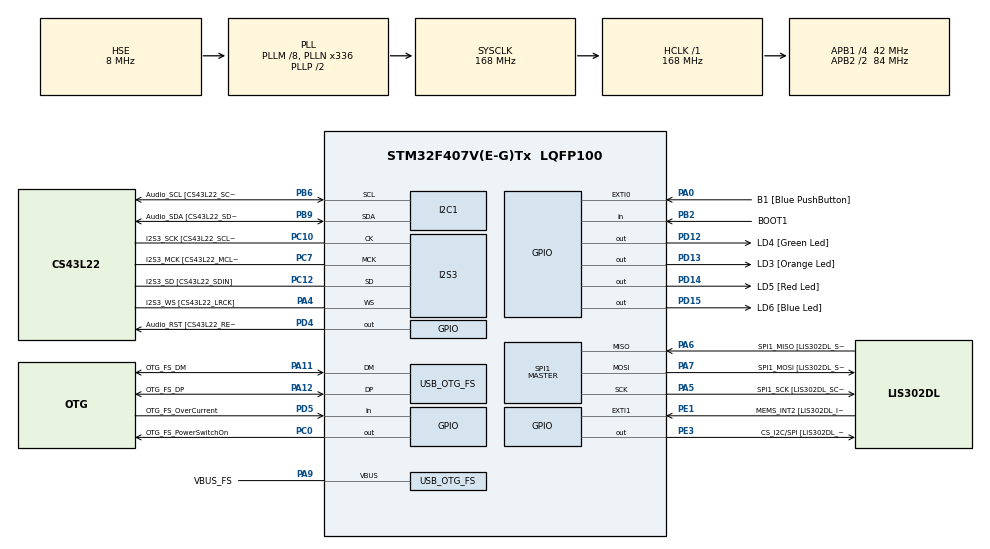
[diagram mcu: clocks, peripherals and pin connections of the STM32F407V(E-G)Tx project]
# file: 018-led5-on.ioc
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I2S3.AudioFreq-Half_Duplex_Master=I2S_AUDIOFREQ_96K
I2S3.ErrorAudioFreq=-2.34 %
I2S3.ErrorAudioFreq-Half_Duplex_Master=0.8 %
I2S3.FullDuplexMode=I2S_FULLDUPLEXMODE_DISABLE
I2S3.Instance=SPI$Index
I2S3.RealAudioFreq=93.75 KHz
I2S3.RealAudioFreq-Half_Duplex_Master=96.774 KHz
I2S3.VirtualMode=I2S_MODE_MASTER
Mcu.Family=STM32F4
Mcu.Name=STM32F407V(E-G)Tx
Mcu.Package=LQFP100
NVIC.OTG_FS_IRQn=true\:0\:0\:false\:false\:true\:true\:true\:true
NVIC.PriorityGroup=NVIC_PRIORITYGROUP_0
PA0-WKUP.GPIO_Label=B1 [Blue PushButton]
PA0-WKUP.GPIO_ModeDefaultEXTI=GPIO_MODE_EVT_RISING
PA0-WKUP.GPIO_PuPd=GPIO_NOPULL
PA0-WKUP.Signal=GPXTI0
PA10.GPIO_Label=OTG_FS_ID
PA10.GPIO_Mode=GPIO_MODE_AF_PP
PA10.GPIO_PuPd=GPIO_NOPULL
PA10.GPIO_Speed=GPIO_SPEED_FREQ_LOW
PA10.Signal=USB_OTG_FS_ID
PA11.GPIO_Label=OTG_FS_DM
PA11.GPIO_Mode=GPIO_MODE_AF_PP
PA11.GPIO_PuPd=GPIO_NOPULL
PA11.GPIO_Speed=GPIO_SPEED_FREQ_LOW
PA11.Mode=Host_Only
PA11.Signal=USB_OTG_FS_DM
PA12.GPIO_Label=OTG_FS_DP
PA12.GPIO_Mode=GPIO_MODE_AF_PP
PA12.GPIO_PuPd=GPIO_NOPULL
PA12.GPIO_Speed=GPIO_SPEED_FREQ_LOW
PA12.Mode=Host_Only
PA12.Signal=USB_OTG_FS_DP
PA13.GPIO_Label=SWDIO
PA13.Mode=Serial_Wire
PA13.Signal=SYS_JTMS-SWDIO
PA14.GPIO_Label=SWCLK
PA14.Mode=Serial_Wire
PA14.Signal=SYS_JTCK-SWCLK
PA4.GPIO_Label=I2S3_WS [CS43L22_LRCK]
PA4.GPIO_Mode=GPIO_MODE_AF_PP
PA4.GPIO_PuPd=GPIO_NOPULL
PA4.GPIO_Speed=GPIO_SPEED_FREQ_LOW
PA4.Mode=Half_Duplex_Master
PA4.Signal=I2S3_WS
PA5.GPIO_Label=SPI1_SCK [LIS302DL_SCL/SPC]
PA5.GPIO_Mode=GPIO_MODE_AF_PP
PA5.GPIO_PuPd=GPIO_NOPULL
PA5.GPIO_Speed=GPIO_SPEED_FREQ_LOW
PA5.Mode=Full_Duplex_Master
PA5.Signal=SPI1_SCK
PA6.GPIO_Label=SPI1_MISO [LIS302DL_SDO]
PA6.GPIO_Mode=GPIO_MODE_AF_PP
PA6.GPIO_PuPd=GPIO_NOPULL
PA6.GPIO_Speed=GPIO_SPEED_FREQ_LOW
PA6.Mode=Full_Duplex_Master
PA6.Signal=SPI1_MISO
PA7.GPIO_Label=SPI1_MOSI [LIS302DL_SDA/SDI/SDO]
PA7.GPIO_Mode=GPIO_MODE_AF_PP
PA7.GPIO_PuPd=GPIO_NOPULL
PA7.GPIO_Speed=GPIO_SPEED_FREQ_LOW
PA7.Mode=Full_Duplex_Master
PA7.Signal=SPI1_MOSI
PA9.GPIO_Label=VBUS_FS
PA9.GPIO_Mode=GPIO_MODE_INPUT
PA9.GPIO_PuPd=GPIO_NOPULL
PA9.Mode=Activate_VBUS
PA9.Signal=USB_OTG_FS_VBUS
PB10.GPIO_Label=CLK_IN [MP45DT02_CLK]
PB10.GPIO_Mode=GPIO_MODE_AF_PP
PB10.GPIO_PuPd=GPIO_NOPULL
PB10.GPIO_Speed=GPIO_SPEED_FREQ_LOW
PB10.Signal=I2S2_CK
PB2.GPIO_Label=BOOT1
PB2.GPIO_Mode=GPIO_MODE_INPUT
PB2.GPIO_PuPd=GPIO_NOPULL
PB2.Signal=GPIO_Input
PB3.GPIO_Label=SWO
PB3.Signal=SYS_JTDO-SWO
PB6.GPIO_Label=Audio_SCL [CS43L22_SCL]
PB6.GPIO_Mode=GPIO_MODE_AF_OD
PB6.GPIO_Pu=GPIO_PULLUP
PB6.GPIO_PuPd=GPIO_NOPULL
PB6.GPIO_Speed=GPIO_SPEED_FREQ_LOW
PB6.Mode=I2C
PB6.Signal=I2C1_SCL
PB9.GPIO_Label=Audio_SDA [CS43L22_SDA]
PB9.GPIO_Mode=GPIO_MODE_AF_OD
PB9.GPIO_Pu=GPIO_PULLUP
PB9.GPIO_PuPd=GPIO_NOPULL
PB9.GPIO_Speed=GPIO_SPEED_FREQ_LOW
PB9.Mode=I2C
PB9.Signal=I2C1_SDA
PC0.GPIO_Label=OTG_FS_PowerSwitchOn
PC0.GPIO_PuPd=GPIO_NOPULL
PC0.GPIO_Speed=GPIO_SPEED_FREQ_LOW
PC0.PinState=GPIO_PIN_SET
PC0.Signal=GPIO_Output
PC10.GPIO_Label=I2S3_SCK [CS43L22_SCLK]
PC10.GPIO_Mode=GPIO_MODE_AF_PP
PC10.GPIO_PuPd=GPIO_NOPULL
PC10.GPIO_Speed=GPIO_SPEED_FREQ_LOW
PC10.Mode=Half_Duplex_Master
PC10.Signal=I2S3_CK
PC12.GPIO_Label=I2S3_SD [CS43L22_SDIN]
PC12.GPIO_Mode=GPIO_MODE_AF_PP
PC12.GPIO_PuPd=GPIO_NOPULL
PC12.GPIO_Speed=GPIO_SPEED_FREQ_LOW
PC12.Mode=Half_Duplex_Master
PC12.Signal=I2S3_SD
PC14-OSC32_IN.GPIO_Label=PC14-OSC32_IN
PC14-OSC32_IN.Mode=LSE-External-Oscillator
PC14-OSC32_IN.Signal=RCC_OSC32_IN
PC15-OSC32_OUT.GPIO_Label=PC15-OSC32_OUT
PC15-OSC32_OUT.Mode=LSE-External-Oscillator
PC15-OSC32_OUT.Signal=RCC_OSC32_OUT
PC3.GPIO_Label=PDM_OUT [MP45DT02_DOUT]
PC3.GPIO_Mode=GPIO_MODE_AF_PP
PC3.GPIO_PuPd=GPIO_NOPULL
PC3.GPIO_Speed=GPIO_SPEED_FREQ_LOW
PC3.Signal=I2S2_SD
PC7.GPIO_Label=I2S3_MCK [CS43L22_MCLK]
PC7.GPIO_Mode=GPIO_MODE_AF_PP
PC7.GPIO_PuPd=GPIO_NOPULL
PC7.GPIO_Speed=GPIO_SPEED_FREQ_LOW
PC7.Mode=Master_Clock_Activated
PC7.Signal=I2S3_MCK
PD12.GPIO_Label=LD4 [Green Led]
PD12.GPIO_PuPd=GPIO_NOPULL
PD12.GPIO_Speed=GPIO_SPEED_FREQ_LOW
PD12.Signal=GPIO_Output
PD13.GPIO_Label=LD3 [Orange Led]
PD13.GPIO_PuPd=GPIO_NOPULL
PD13.GPIO_Speed=GPIO_SPEED_FREQ_LOW
PD13.Signal=GPIO_Output
PD14.GPIO_Label=LD5 [Red Led]
PD14.GPIO_PuPd=GPIO_NOPULL
PD14.GPIO_Speed=GPIO_SPEED_FREQ_LOW
PD14.Signal=GPIO_Output
PD15.GPIO_Label=LD6 [Blue Led]
PD15.GPIO_PuPd=GPIO_NOPULL
PD15.GPIO_Speed=GPIO_SPEED_FREQ_LOW
PD15.Signal=GPIO_Output
PD4.GPIO_Label=Audio_RST [CS43L22_RESET]
PD4.GPIO_PuPd=GPIO_NOPULL
PD4.GPIO_Speed=GPIO_SPEED_FREQ_LOW
PD4.Signal=GPIO_Output
PD5.GPIO_Label=OTG_FS_OverCurrent
PD5.GPIO_Mode=GPIO_MODE_INPUT
PD5.GPIO_PuPd=GPIO_NOPULL
PD5.Signal=GPIO_Input
PE1.GPIO_Label=MEMS_INT2 [LIS302DL_INT2]
PE1.GPIO_ModeDefaultEXTI=GPIO_MODE_EVT_RISING
PE1.GPIO_PuPd=GPIO_NOPULL
PE1.Signal=GPXTI1
PE3.GPIO_Label=CS_I2C/SPI [LIS302DL_CS_I2C/SPI]
PE3.GPIO_PuPd=GPIO_NOPULL
PE3.GPIO_Speed=GPIO_SPEED_FREQ_LOW
PE3.Signal=GPIO_Output
PH0-OSC_IN.GPIO_Label=PH0-OSC_IN
PH0-OSC_IN.Mode=HSE-External-Oscillator
PH0-OSC_IN.Signal=RCC_OSC_IN
PH1-OSC_OUT.GPIO_Label=PH1-OSC_OUT
PH1-OSC_OUT.Mode=HSE-External-Oscillator
PH1-OSC_OUT.Signal=RCC_OSC_OUT
ProjectManager.HeapSize=0x200
ProjectManager.StackSize=0x400
ProjectManager.TargetToolchain=STM32CubeIDE
RCC.48MHZClocksFreq_Value=48000000
RCC.AHBFreq_Value=168000000
RCC.APB1CLKDivider=RCC_HCLK_DIV4
RCC.APB1Freq_Value=42000000
RCC.APB1TimFreq_Value=84000000
RCC.APB2CLKDivider=RCC_HCLK_DIV2
RCC.APB2Freq_Value=84000000
RCC.APB2TimFreq_Value=168000000
RCC.CortexFreq_Value=168000000
RCC.HCLKFreq_Value=168000000
RCC.HSE_VALUE=8000000
RCC.HSI_VALUE=16000000
RCC.PLLM=8
RCC.PLLN=336
RCC.PLLQ=7
RCC.SYSCLKFreq_VALUE=168000000
RCC.SYSCLKSource=RCC_SYSCLKSOURCE_PLLCLK
RCC.VCOOutputFreq_Value=336000000
SPI1.BaudRatePrescaler-Full_Duplex_Master=SPI_BAUDRATEPRESCALER_2
SPI1.CalculateBaudRate-Full_Duplex_Master=42.0 MBits/s
SPI1.Direction=SPI_DIRECTION_2LINES
SPI1.Mode=SPI_MODE_MASTER
SPI1.Mode-Full_Duplex_Master=SPI_MODE_MASTER
SPI1.VirtualType=VM_MASTER
USB_HOST.BSP.number=1
USB_HOST.USBH_HandleTypeDef-CDC_FS=hUsbHostFS
USB_HOST.VirtualModeFS=Cdc
USB_HOST0.BSP.STBoard=false
USB_HOST0.BSP.api=Unknown
USB_HOST0.BSP.instance=PC0
USB_HOST0.BSP.ip=GPIO
USB_HOST0.BSP.mode=Output
USB_HOST0.BSP.name=Drive_VBUS_FS
USB_HOST0.BSP.solution=PC0
USB_OTG_FS.VirtualMode=Host_Only
USB_OTG_FS.phy_itface=HCD_PHY_EMBEDDED
VP_USB_HOST_VS_USB_HOST_CDC_FS.Mode=CDC_FS
board=STM32F407G-DISC1

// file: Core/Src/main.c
/* USER CODE BEGIN Header */
/**
  ******************************************************************************
  * @file           : main.c
  * @brief          : Main program body
  ******************************************************************************
  * @attention
  *
  * Copyright (c) 2026 STMicroelectronics.
  * All rights reserved.
  *
  * This software is licensed under terms that can be found in the LICENSE file
  * in the root directory of this software component.
  * If no LICENSE file comes with this software, it is provided AS-IS.
  *
  ******************************************************************************
  */
/* USER CODE END Header */
#include "main.h"
#include "usb_host.h"

/* USER CODE BEGIN Includes */
#include <stdio.h>
#include "board_constant_utils.h"
/* USER CODE END Includes */

I2C_HandleTypeDef hi2c1;

I2S_HandleTypeDef hi2s3;

SPI_HandleTypeDef hspi1;

void SystemClock_Config(void);
static void MX_GPIO_Init(void);
static void MX_I2C1_Init(void);
static void MX_I2S3_Init(void);
static void MX_SPI1_Init(void);
void MX_USB_HOST_Process(void);

int main(void)
{

  /* MCU Configuration--------------------------------------------------------*/

  /* Reset of all peripherals, Initializes the Flash interface and the Systick. */
  HAL_Init();

  /* Configure the system clock */
  SystemClock_Config();

  /* Initialize all configured peripherals */
  MX_GPIO_Init();
  MX_I2C1_Init();
  MX_I2S3_Init();
  MX_SPI1_Init();
  MX_USB_HOST_Init();
  /* USER CODE BEGIN 2 */

//   r = r && ~ 00000001 reset bit 0

  printf("Configuring RCC for AHB1!\n");
  uint32_t *pRccEnableAHB1Register = (uint32_t*) getRccEnableAHB1RegisterAddress();
  *pRccEnableAHB1Register |= (1 << 3); //SET BIT 3 // *pRccEnableAHB1Register |= 0x00000008;
  *pRccEnableAHB1Register |= (1 << 0); //SET BIT 0 // *pRccEnableAHB1Register |= 0x00000001;

  printf("Configuring GPIOD mode register!\n");
  uint32_t * pGpiodModeRegister = (uint32_t*) getGpiodModeRegisterAddress();

  *pGpiodModeRegister &= ~ (3 << 24); //CLEAR BIT 24 & 25 // *pGpiodModeRegister = *pGpiodModeRegister && ~ 0x03000000;
  *pGpiodModeRegister |=   (1 << 24); //SET BIT 24 // *pGpiodModeRegister |= 0x01000000;

  printf("Configuring GPIOA mode register!\n");
  uint32_t * pGpioaModeRegister = (uint32_t*) getGpioaModeRegisterAddress();

  *pGpioaModeRegister &= ~(3 << 0); //CLEAR BIT 0 & 1 // *pGpioaModeRegister = *pGpioaModeRegister && ~ 0x00000003;

  uint32_t * pGpioaDataRegister = (uint32_t*) getGpioaDataRegisterAddress();
  //printf("Setting GPIOD data register for switching on led4!\n");
  uint32_t * pGpiodDataRegister = (uint32_t*) getGpiodDataRegisterAddress();
  //*pGpiodDataRegister |= (1 << 12); //SET BIT 12 // *pGpiodDataRegister |= 0x00001000;

  //printf("Led4 ON!\n");
  printf("Led4 toggling!\n");
  /* USER CODE END 2 */

  /* Infinite loop */
  while (1)
  {
    MX_USB_HOST_Process();

    /* USER CODE BEGIN 3 */
    /*printf("Setting GPIOD data register for switching on led4!\n");
    uint32_t * pGpiodDataRegister = (uint32_t*) getGpiodDataRegisterAddress();
    *pGpiodDataRegister ^= (1 << 12); //TOGGLE BIT 12 // *pGpiodDataRegister |= 0x00001000;

    for(uint32_t i = 0; i < 9999999; i++);*/
    if(*pGpioaDataRegister & (1 << 0)) {
    	*pGpiodDataRegister |= (1 << 12); //SET BIT 12 // *pGpiodDataRegister |= 0x00001000;
    } else {
    	*pGpiodDataRegister &= ~ (1 << 12); //SET BIT 12 // *pGpiodDataRegister |= 0x00001000;
    }
  }
  /* USER CODE END 3 */
}

void SystemClock_Config(void)
{
  RCC_OscInitTypeDef RCC_OscInitStruct = {0};
  RCC_ClkInitTypeDef RCC_ClkInitStruct = {0};

  /** Configure the main internal regulator output voltage
  */
  __HAL_RCC_PWR_CLK_ENABLE();
  __HAL_PWR_VOLTAGESCALING_CONFIG(PWR_REGULATOR_VOLTAGE_SCALE1);

  /** Initializes the RCC Oscillators according to the specified parameters
  * in the RCC_OscInitTypeDef structure.
  */
  RCC_OscInitStruct.OscillatorType = RCC_OSCILLATORTYPE_HSE;
  RCC_OscInitStruct.HSEState = RCC_HSE_ON;
  RCC_OscInitStruct.PLL.PLLState = RCC_PLL_ON;
  RCC_OscInitStruct.PLL.PLLSource = RCC_PLLSOURCE_HSE;
  RCC_OscInitStruct.PLL.PLLM = 8;
  RCC_OscInitStruct.PLL.PLLN = 336;
  RCC_OscInitStruct.PLL.PLLP = RCC_PLLP_DIV2;
  RCC_OscInitStruct.PLL.PLLQ = 7;
  if (HAL_RCC_OscConfig(&RCC_OscInitStruct) != HAL_OK)
  {
    Error_Handler();
  }

  /** Initializes the CPU, AHB and APB buses clocks
  */
  RCC_ClkInitStruct.ClockType = RCC_CLOCKTYPE_HCLK|RCC_CLOCKTYPE_SYSCLK
                              |RCC_CLOCKTYPE_PCLK1|RCC_CLOCKTYPE_PCLK2;
  RCC_ClkInitStruct.SYSCLKSource = RCC_SYSCLKSOURCE_PLLCLK;
  RCC_ClkInitStruct.AHBCLKDivider = RCC_SYSCLK_DIV1;
  RCC_ClkInitStruct.APB1CLKDivider = RCC_HCLK_DIV4;
  RCC_ClkInitStruct.APB2CLKDivider = RCC_HCLK_DIV2;

  if (HAL_RCC_ClockConfig(&RCC_ClkInitStruct, FLASH_LATENCY_5) != HAL_OK)
  {
    Error_Handler();
  }
}

static void MX_I2C1_Init(void)
{

  hi2c1.Instance = I2C1;
  hi2c1.Init.ClockSpeed = 100000;
  hi2c1.Init.DutyCycle = I2C_DUTYCYCLE_2;
  hi2c1.Init.OwnAddress1 = 0;
  hi2c1.Init.AddressingMode = I2C_ADDRESSINGMODE_7BIT;
  hi2c1.Init.DualAddressMode = I2C_DUALADDRESS_DISABLE;
  hi2c1.Init.OwnAddress2 = 0;
  hi2c1.Init.GeneralCallMode = I2C_GENERALCALL_DISABLE;
  hi2c1.Init.NoStretchMode = I2C_NOSTRETCH_DISABLE;
  if (HAL_I2C_Init(&hi2c1) != HAL_OK)
  {
    Error_Handler();
  }

}

static void MX_I2S3_Init(void)
{

  hi2s3.Instance = SPI3;
  hi2s3.Init.Mode = I2S_MODE_MASTER_TX;
  hi2s3.Init.Standard = I2S_STANDARD_PHILIPS;
  hi2s3.Init.DataFormat = I2S_DATAFORMAT_16B;
  hi2s3.Init.MCLKOutput = I2S_MCLKOUTPUT_ENABLE;
  hi2s3.Init.AudioFreq = I2S_AUDIOFREQ_96K;
  hi2s3.Init.CPOL = I2S_CPOL_LOW;
  hi2s3.Init.ClockSource = I2S_CLOCK_PLL;
  hi2s3.Init.FullDuplexMode = I2S_FULLDUPLEXMODE_DISABLE;
  if (HAL_I2S_Init(&hi2s3) != HAL_OK)
  {
    Error_Handler();
  }

}

static void MX_SPI1_Init(void)
{

  /* SPI1 parameter configuration*/
  hspi1.Instance = SPI1;
  hspi1.Init.Mode = SPI_MODE_MASTER;
  hspi1.Init.Direction = SPI_DIRECTION_2LINES;
  hspi1.Init.DataSize = SPI_DATASIZE_8BIT;
  hspi1.Init.CLKPolarity = SPI_POLARITY_LOW;
  hspi1.Init.CLKPhase = SPI_PHASE_1EDGE;
  hspi1.Init.NSS = SPI_NSS_SOFT;
  hspi1.Init.BaudRatePrescaler = SPI_BAUDRATEPRESCALER_2;
  hspi1.Init.FirstBit = SPI_FIRSTBIT_MSB;
  hspi1.Init.TIMode = SPI_TIMODE_DISABLE;
  hspi1.Init.CRCCalculation = SPI_CRCCALCULATION_DISABLE;
  hspi1.Init.CRCPolynomial = 10;
  if (HAL_SPI_Init(&hspi1) != HAL_OK)
  {
    Error_Handler();
  }

}

static void MX_GPIO_Init(void)
{
  GPIO_InitTypeDef GPIO_InitStruct = {0};

  /* GPIO Ports Clock Enable */
  __HAL_RCC_GPIOE_CLK_ENABLE();
  __HAL_RCC_GPIOC_CLK_ENABLE();
  __HAL_RCC_GPIOH_CLK_ENABLE();
  __HAL_RCC_GPIOA_CLK_ENABLE();
  __HAL_RCC_GPIOB_CLK_ENABLE();
  __HAL_RCC_GPIOD_CLK_ENABLE();

  /*Configure GPIO pin Output Level */
  HAL_GPIO_WritePin(CS_I2C_SPI_GPIO_Port, CS_I2C_SPI_Pin, GPIO_PIN_RESET);

  /*Configure GPIO pin Output Level */
  HAL_GPIO_WritePin(OTG_FS_PowerSwitchOn_GPIO_Port, OTG_FS_PowerSwitchOn_Pin, GPIO_PIN_SET);

  /*Configure GPIO pin Output Level */
  HAL_GPIO_WritePin(GPIOD, LD4_Pin|LD3_Pin|LD5_Pin|LD6_Pin
                          |Audio_RST_Pin, GPIO_PIN_RESET);

  /*Configure GPIO pin : CS_I2C_SPI_Pin */
  GPIO_InitStruct.Pin = CS_I2C_SPI_Pin;
  GPIO_InitStruct.Mode = GPIO_MODE_OUTPUT_PP;
  GPIO_InitStruct.Pull = GPIO_NOPULL;
  GPIO_InitStruct.Speed = GPIO_SPEED_FREQ_LOW;
  HAL_GPIO_Init(CS_I2C_SPI_GPIO_Port, &GPIO_InitStruct);

  /*Configure GPIO pin : OTG_FS_PowerSwitchOn_Pin */
  GPIO_InitStruct.Pin = OTG_FS_PowerSwitchOn_Pin;
  GPIO_InitStruct.Mode = GPIO_MODE_OUTPUT_PP;
  GPIO_InitStruct.Pull = GPIO_NOPULL;
  GPIO_InitStruct.Speed = GPIO_SPEED_FREQ_LOW;
  HAL_GPIO_Init(OTG_FS_PowerSwitchOn_GPIO_Port, &GPIO_InitStruct);

  /*Configure GPIO pin : PDM_OUT_Pin */
  GPIO_InitStruct.Pin = PDM_OUT_Pin;
  GPIO_InitStruct.Mode = GPIO_MODE_AF_PP;
  GPIO_InitStruct.Pull = GPIO_NOPULL;
  GPIO_InitStruct.Speed = GPIO_SPEED_FREQ_LOW;
  GPIO_InitStruct.Alternate = GPIO_AF5_SPI2;
  HAL_GPIO_Init(PDM_OUT_GPIO_Port, &GPIO_InitStruct);

  /*Configure GPIO pin : B1_Pin */
  GPIO_InitStruct.Pin = B1_Pin;
  GPIO_InitStruct.Mode = GPIO_MODE_EVT_RISING;
  GPIO_InitStruct.Pull = GPIO_NOPULL;
  HAL_GPIO_Init(B1_GPIO_Port, &GPIO_InitStruct);

  /*Configure GPIO pin : BOOT1_Pin */
  GPIO_InitStruct.Pin = BOOT1_Pin;
  GPIO_InitStruct.Mode = GPIO_MODE_INPUT;
  GPIO_InitStruct.Pull = GPIO_NOPULL;
  HAL_GPIO_Init(BOOT1_GPIO_Port, &GPIO_InitStruct);

  /*Configure GPIO pin : CLK_IN_Pin */
  GPIO_InitStruct.Pin = CLK_IN_Pin;
  GPIO_InitStruct.Mode = GPIO_MODE_AF_PP;
  GPIO_InitStruct.Pull = GPIO_NOPULL;
  GPIO_InitStruct.Speed = GPIO_SPEED_FREQ_LOW;
  GPIO_InitStruct.Alternate = GPIO_AF5_SPI2;
  HAL_GPIO_Init(CLK_IN_GPIO_Port, &GPIO_InitStruct);

  /*Configure GPIO pins : LD4_Pin LD3_Pin LD5_Pin LD6_Pin
                           Audio_RST_Pin */
  GPIO_InitStruct.Pin = LD4_Pin|LD3_Pin|LD5_Pin|LD6_Pin
                          |Audio_RST_Pin;
  GPIO_InitStruct.Mode = GPIO_MODE_OUTPUT_PP;
  GPIO_InitStruct.Pull = GPIO_NOPULL;
  GPIO_InitStruct.Speed = GPIO_SPEED_FREQ_LOW;
  HAL_GPIO_Init(GPIOD, &GPIO_InitStruct);

  /*Configure GPIO pin : OTG_FS_OverCurrent_Pin */
  GPIO_InitStruct.Pin = OTG_FS_OverCurrent_Pin;
  GPIO_InitStruct.Mode = GPIO_MODE_INPUT;
  GPIO_InitStruct.Pull = GPIO_NOPULL;
  HAL_GPIO_Init(OTG_FS_OverCurrent_GPIO_Port, &GPIO_InitStruct);

  /*Configure GPIO pin : MEMS_INT2_Pin */
  GPIO_InitStruct.Pin = MEMS_INT2_Pin;
  GPIO_InitStruct.Mode = GPIO_MODE_EVT_RISING;
  GPIO_InitStruct.Pull = GPIO_NOPULL;
  HAL_GPIO_Init(MEMS_INT2_GPIO_Port, &GPIO_InitStruct);

}

void Error_Handler(void)
{
  __disable_irq();
  while (1)
  {
  }
}
